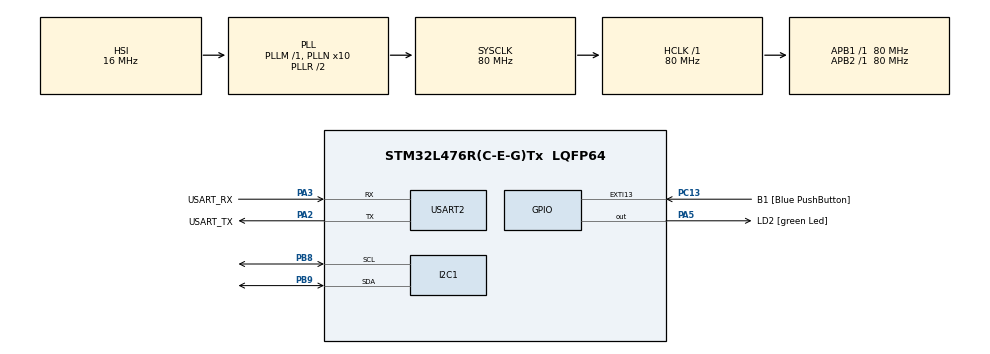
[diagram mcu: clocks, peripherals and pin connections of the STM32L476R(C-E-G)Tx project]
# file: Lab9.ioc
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I2C1.Timing=0x10D19CE4
Mcu.Family=STM32L4
Mcu.Name=STM32L476R(C-E-G)Tx
Mcu.Package=LQFP64
NVIC.PriorityGroup=NVIC_PRIORITYGROUP_4
PA13\ (JTMS-SWDIO).GPIO_Label=TMS
PA13\ (JTMS-SWDIO).Mode=Serial_Wire
PA13\ (JTMS-SWDIO).Signal=SYS_JTMS-SWDIO
PA14\ (JTCK-SWCLK).GPIO_Label=TCK
PA14\ (JTCK-SWCLK).Mode=Serial_Wire
PA14\ (JTCK-SWCLK).Signal=SYS_JTCK-SWCLK
PA2.GPIO_Label=USART_TX
PA2.GPIO_Mode=GPIO_MODE_AF_PP
PA2.GPIO_PuPd=GPIO_NOPULL
PA2.GPIO_Speed=GPIO_SPEED_FREQ_VERY_HIGH
PA2.Mode=Asynchronous
PA2.Signal=USART2_TX
PA3.GPIO_Label=USART_RX
PA3.GPIO_Mode=GPIO_MODE_AF_PP
PA3.GPIO_PuPd=GPIO_NOPULL
PA3.GPIO_Speed=GPIO_SPEED_FREQ_VERY_HIGH
PA3.Mode=Asynchronous
PA3.Signal=USART2_RX
PA5.GPIO_Label=LD2 [green Led]
PA5.GPIO_ModeDefaultOutputPP=GPIO_MODE_OUTPUT_PP
PA5.GPIO_PuPd=GPIO_NOPULL
PA5.GPIO_Speed=GPIO_SPEED_FREQ_LOW
PA5.Signal=GPIO_Output
PB3\ (JTDO-TRACESWO).GPIO_Label=SWO
PB3\ (JTDO-TRACESWO).Signal=SYS_JTDO-SWO
PB8.Mode=I2C
PB8.Signal=I2C1_SCL
PB9.Mode=I2C
PB9.Signal=I2C1_SDA
PC13.GPIO_Label=B1 [Blue PushButton]
PC13.GPIO_ModeDefaultEXTI=GPIO_MODE_IT_FALLING
PC13.GPIO_PuPd=GPIO_NOPULL
PC13.Signal=GPXTI13
PC14-OSC32_IN\ (PC14).Mode=LSE-External-Oscillator
PC14-OSC32_IN\ (PC14).Signal=RCC_OSC32_IN
PC15-OSC32_OUT\ (PC15).Mode=LSE-External-Oscillator
PC15-OSC32_OUT\ (PC15).Signal=RCC_OSC32_OUT
PH0-OSC_IN\ (PH0).Signal=RCC_OSC_IN
PH1-OSC_OUT\ (PH1).Signal=RCC_OSC_OUT
ProjectManager.HeapSize=0x200
ProjectManager.StackSize=0x400
ProjectManager.TargetToolchain=STM32CubeIDE
RCC.ADCFreq_Value=64000000
RCC.AHBFreq_Value=80000000
RCC.APB1Freq_Value=80000000
RCC.APB1TimFreq_Value=80000000
RCC.APB2Freq_Value=80000000
RCC.APB2TimFreq_Value=80000000
RCC.CortexFreq_Value=80000000
RCC.HCLKFreq_Value=80000000
RCC.HSE_VALUE=8000000
RCC.HSI_VALUE=16000000
RCC.MSI_VALUE=4000000
RCC.PLLN=10
RCC.PLLSourceVirtual=RCC_PLLSOURCE_HSI
RCC.PREFETCH_ENABLE=1
RCC.SYSCLKFreq_VALUE=80000000
RCC.SYSCLKSource=RCC_SYSCLKSOURCE_PLLCLK
RCC.USBFreq_Value=64000000
RCC.VCOOutputFreq_Value=160000000
USART2.VirtualMode-Asynchronous=VM_ASYNC
board=NUCLEO-L476RG

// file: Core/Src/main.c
/* USER CODE BEGIN Header */
/**
  ******************************************************************************
  * @file           : main.c
  * @brief          : Main program body
  ******************************************************************************
  * @attention
  *
  * Copyright (c) 2025 STMicroelectronics.
  * All rights reserved.
  *
  * This software is licensed under terms that can be found in the LICENSE file
  * in the root directory of this software component.
  * If no LICENSE file comes with this software, it is provided AS-IS.
  *
  ******************************************************************************
  */
/* USER CODE END Header */
#include "main.h"
#include "i2c.h"
#include "usart.h"
#include "gpio.h"
#include <string.h>
#include <stdio.h>
#include <math.h>

/* USER CODE BEGIN Includes */
#include "mpu6050.h"

/* USER CODE END Includes */

/* USER CODE BEGIN PV */
char buffer[200];
MPU6050_t MPU6050;
#define MPU_I2C 0b1101000 << (1) // left shifted 7 bit address
#define ACCEL_CONFIG 0x1C
#define GYRO_CONFIG 0x1B // from datasheet
/* USER CODE END PV */

void SystemClock_Config(void);

int main(void)
{

  /* USER CODE BEGIN 1 */
	uint8_t data[1]; //buffer to hold addr
	uint8_t data_temp[2]; //buffer to hold temp data
  /* USER CODE END 1 */

  /* MCU Configuration--------------------------------------------------------*/

  /* Reset of all peripherals, Initializes the Flash interface and the Systick. */
  HAL_Init();

  /* Configure the system clock */
  SystemClock_Config();

  /* Initialize all configured peripherals */
  MX_GPIO_Init();
  MX_USART2_UART_Init();
  MX_I2C1_Init();
  /* USER CODE BEGIN 2 */
  HAL_StatusTypeDef ret = HAL_I2C_IsDeviceReady(&hi2c1, 0b1101000 << (1 + 0), 1,
              100); //status update

  //i2c turn on MPU - TASK 2
    	data[0] = 0x00;
    	ret = HAL_I2C_Mem_Write(&hi2c1, 0b1101000 << (1 + 0), 0x6B, 1, data, 1, HAL_MAX_DELAY);
    	if (ret != HAL_OK){
    		snprintf(buffer, sizeof(buffer), "Error in configuring the alert pin \r\n");
    		HAL_UART_Transmit(&huart2, (uint8_t *)buffer, strlen(buffer), 100);
    	} else{
    		snprintf(buffer, sizeof(buffer), "No error in configuring the alert pin \r\n");
    		HAL_UART_Transmit(&huart2, (uint8_t *)buffer, strlen(buffer), 100);
    	}
//
    	//acceleration +-4g - TASK 3
    	  	data[0] = 0x08;
    	  	ret = HAL_I2C_Mem_Write(&hi2c1, 0b1101000 << (1 + 0), ACCEL_CONFIG, 1, data, 1, HAL_MAX_DELAY);
    		if (ret != HAL_OK){
    			snprintf(buffer, sizeof(buffer), "Error in configuring the acceleration pin \r\n");
    			HAL_UART_Transmit(&huart2, (uint8_t *)buffer, strlen(buffer), 100);
    		} else{
    			snprintf(buffer, sizeof(buffer), "No error in configuring the acceleration pin \r\n");
    			HAL_UART_Transmit(&huart2, (uint8_t *)buffer, strlen(buffer), 100);
    		}
//
//    		//gyroscope +-4gs - TASK 4
    		data[0] = 0x10;
    		ret = HAL_I2C_Mem_Write(&hi2c1, MPU_I2C, GYRO_CONFIG, 1, data, 1, HAL_MAX_DELAY);
    		if (ret != HAL_OK){
    			snprintf(buffer, sizeof(buffer), "Error in configuring the gyroscope pin \r\n");
    			HAL_UART_Transmit(&huart2, (uint8_t *)buffer, strlen(buffer), 100);
    		} else{
    			snprintf(buffer, sizeof(buffer), "No error in configuring the gyroscope pin \r\n");
    			HAL_UART_Transmit(&huart2, (uint8_t *)buffer, strlen(buffer), 100);
    		}
    		while (MPU6050_Init(&hi2c1) == 1);
  /* USER CODE END 2 */

  /* Infinite loop */
  while (1)
  {

    /* USER CODE BEGIN 3 */
	  MPU6050_Read_All(&hi2c1, &MPU6050);
	  HAL_Delay (100);
	  float theta = MPU6050.KalmanAngleX;
	  float theta_dot = MPU6050.Gx;

	  // Print accelerometer data in a nice CSV format
		  snprintf(buffer, sizeof(buffer), "theta: %f, theta dot: %f\r\n", theta, theta_dot);
		  HAL_UART_Transmit(&huart2, (uint8_t *)buffer, strlen(buffer), 100);

  }
  /* USER CODE END 3 */
}

void SystemClock_Config(void)
{
  RCC_OscInitTypeDef RCC_OscInitStruct = {0};
  RCC_ClkInitTypeDef RCC_ClkInitStruct = {0};

  /** Configure the main internal regulator output voltage
  */
  if (HAL_PWREx_ControlVoltageScaling(PWR_REGULATOR_VOLTAGE_SCALE1) != HAL_OK)
  {
    Error_Handler();
  }

  /** Initializes the RCC Oscillators according to the specified parameters
  * in the RCC_OscInitTypeDef structure.
  */
  RCC_OscInitStruct.OscillatorType = RCC_OSCILLATORTYPE_HSI;
  RCC_OscInitStruct.HSIState = RCC_HSI_ON;
  RCC_OscInitStruct.HSICalibrationValue = RCC_HSICALIBRATION_DEFAULT;
  RCC_OscInitStruct.PLL.PLLState = RCC_PLL_ON;
  RCC_OscInitStruct.PLL.PLLSource = RCC_PLLSOURCE_HSI;
  RCC_OscInitStruct.PLL.PLLM = 1;
  RCC_OscInitStruct.PLL.PLLN = 10;
  RCC_OscInitStruct.PLL.PLLP = RCC_PLLP_DIV7;
  RCC_OscInitStruct.PLL.PLLQ = RCC_PLLQ_DIV2;
  RCC_OscInitStruct.PLL.PLLR = RCC_PLLR_DIV2;
  if (HAL_RCC_OscConfig(&RCC_OscInitStruct) != HAL_OK)
  {
    Error_Handler();
  }

  /** Initializes the CPU, AHB and APB buses clocks
  */
  RCC_ClkInitStruct.ClockType = RCC_CLOCKTYPE_HCLK|RCC_CLOCKTYPE_SYSCLK
                              |RCC_CLOCKTYPE_PCLK1|RCC_CLOCKTYPE_PCLK2;
  RCC_ClkInitStruct.SYSCLKSource = RCC_SYSCLKSOURCE_PLLCLK;
  RCC_ClkInitStruct.AHBCLKDivider = RCC_SYSCLK_DIV1;
  RCC_ClkInitStruct.APB1CLKDivider = RCC_HCLK_DIV1;
  RCC_ClkInitStruct.APB2CLKDivider = RCC_HCLK_DIV1;

  if (HAL_RCC_ClockConfig(&RCC_ClkInitStruct, FLASH_LATENCY_4) != HAL_OK)
  {
    Error_Handler();
  }
}

void Error_Handler(void)
{
  __disable_irq();
  while (1)
  {
  }
}
